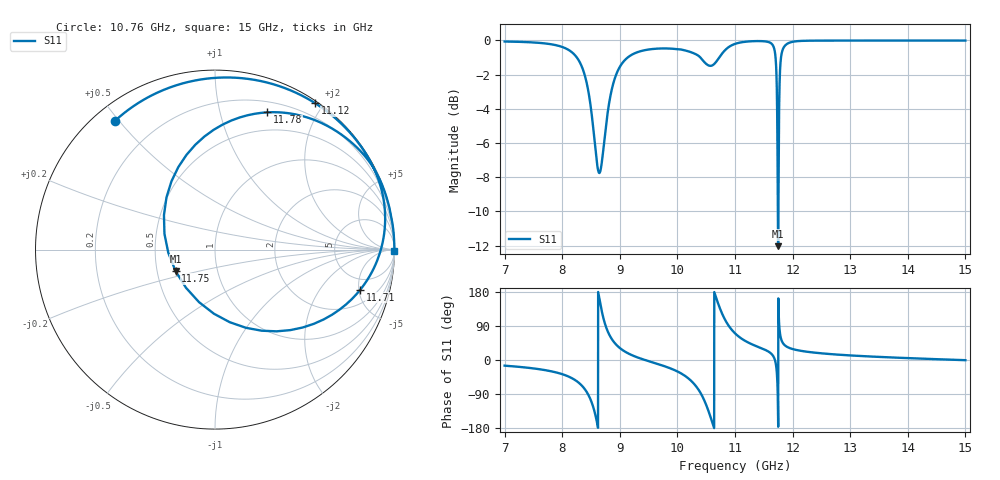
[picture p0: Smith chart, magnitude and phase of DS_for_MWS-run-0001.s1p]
! TOUCHSTONE file generated by CST DESIGN STUDIO
! Date and time: Mon Feb 10 16:55:44 2025
! Project name: C:\Work\MatlabApps\UnitCellType2OptimizationMatlab\CST\unitcell.cst
! Tree item: Tasks\Sweep1\SPara1\S-Parameters
! Header version: 2024
! Port assignment regex: !\s*Touchstone port\s*([0-9]+)\s*=\s*(CST MWS port|CST DES external port|CST DES block port)\s*(.+)\s* \(\"(.*)\"\)(\s*mode\s*([0-9]+))?.*
! Touchstone port assignment:
! Touchstone port 1 = CST DES external port 1 ("")
# GHz S MA R 50
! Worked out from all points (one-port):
!   4001 points, 7 GHz to 15 GHz, reference 50 ohm
!   lowest |S11| = -12.0 dB at 11.75 GHz (marker M1), VSWR 1.67, Z = 31.2 - j7.95 ohm
!   |S11| at or under -10 dB: 11.74357 GHz to 11.75291 GHz (9.341 MHz wide, 0.0795 % of centre)
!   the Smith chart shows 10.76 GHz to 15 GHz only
!   S11 on the Smith chart (normalised r, x): 10.76 GHz: 0.06, +0.49; 11.12 GHz: 0.03, +1.90; 11.71 GHz: 3.44, -5.20; 11.75 GHz: 0.62, -0.16; 11.78 GHz: 0.30, +1.41; 15 GHz: open
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7  0.9929 -14.9
8  0.9572 -37.4
8.236  0.8997 -54.1
8.414  0.7653 -81.7
8.51  0.6119 -111.2
8.608  0.4317 -167.8
8.77  0.5814 83.3
9  0.8369 31.7
9.408  0.9347 1.4
10  0.9427 -30.2
10.26  0.9208 -58.2
10.456  0.8687 -103.0
10.622  0.8487 -172.2
10.76  0.9081 128.0
10.86  0.9477 97.6
11  0.9771 70.4
11.122  0.9884 55.5
11.648  0.973 13.6
11.688  0.9345 2.3
11.714  0.8402 -15.4
11.748  0.2502 -151.5
11.782  0.8181 69.2
11.802  0.8999 54.7
11.846  0.9543 41.7
12  0.991 28.9
13  0.9988 12.1
14  0.9998 5.0
15  0.9992 -0.5
